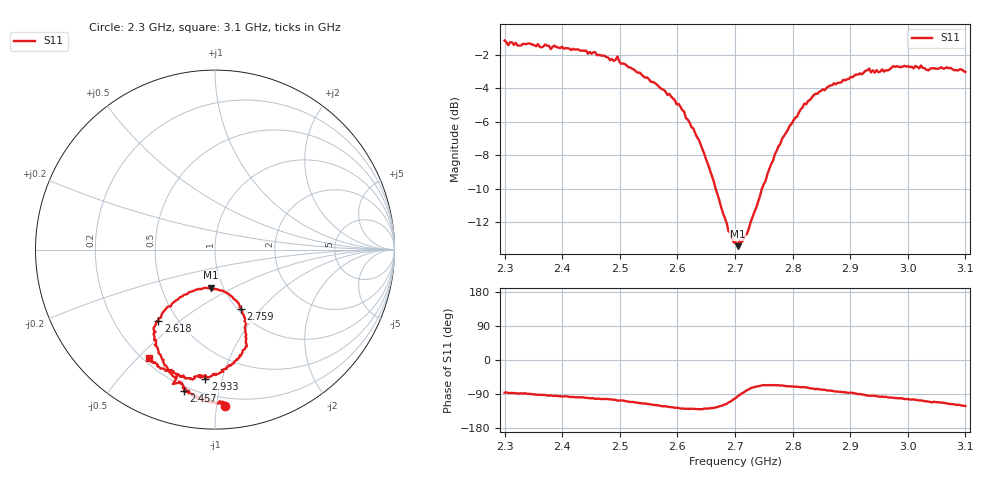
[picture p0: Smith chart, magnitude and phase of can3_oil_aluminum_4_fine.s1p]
# MHz S MA R 50
!  freq  S11
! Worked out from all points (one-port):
!   250 points, 2.3 GHz to 3.1 GHz, reference 50 ohm
!   lowest |S11| = -13.4 dB at 2.705 GHz (marker M1), VSWR 1.54, Z = 43.8 - j19.5 ohm
!   |S11| at or under -10 dB: 2.666 GHz to 2.747 GHz (80.1 MHz wide, 2.96 % of centre)
!   S11 on the Smith chart (normalised r, x): 2.3 GHz: 0.14, -1.06; 2.457 GHz: 0.17, -0.79; 2.618 GHz: 0.39, -0.42; 2.759 GHz: 1.03, -0.79; 2.933 GHz: 0.29, -0.88; 3.1 GHz: 0.23, -0.54
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2300  0.876 -86.2
2303.213  0.8648 -85.3
2306.426  0.848 -87.2
2335.341  0.854 -87.6
2354.618  0.8415 -91.9
2402.811  0.8277 -95.6
2457.43  0.8076 -102.5
2486.345  0.7713 -104.0
2495.984  0.7852 -107.4
2502.41  0.7467 -106.9
2573.092  0.6272 -122.3
2602.008  0.5667 -126.8
2618.072  0.5082 -128.3
2643.775  0.4134 -129.7
2688.755  0.2361 -111.9
2701.606  0.2189 -99.9
2704.819  0.2132 -95.8
2720.884  0.232 -79.6
2759.438  0.362 -66.5
2801.205  0.505 -69.8
2820.482  0.5681 -71.8
2839.759  0.6072 -77.0
2900.803  0.6822 -86.2
2932.932  0.7222 -94.2
3000.402  0.7348 -103.1
3042.169  0.7241 -111.9
3058.233  0.7291 -112.2
3100  0.7051 -121.4
